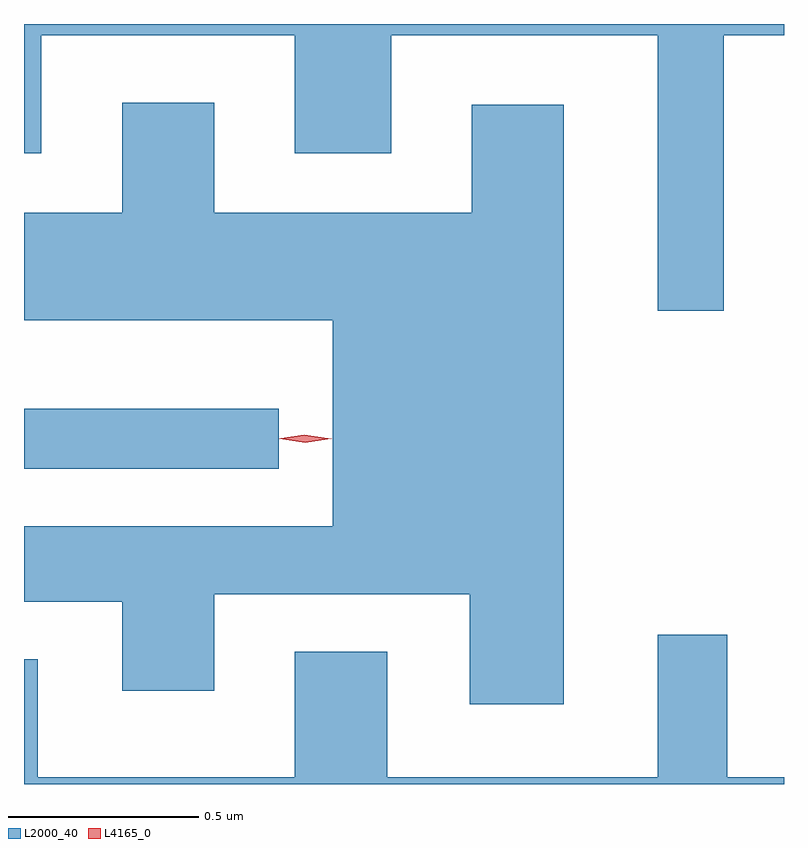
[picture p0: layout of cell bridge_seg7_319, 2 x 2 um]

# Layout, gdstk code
import gdstk
lib = gdstk.Library(unit=1e-6, precision=1e-09)
def R(c, l, rs):  # rectangles x0, y0, x1, y1
    for r in rs: c.add(gdstk.rectangle(r[:2], r[2:], *l))
def P(c, l, *ps):  # polygons
    for p in ps: c.add(gdstk.Polygon(p, *l))
L2000_40 = (2000, 40)
L4165_0 = (4165, 0)

bridge_seg7_319 = lib.new_cell('bridge_seg7_319')
R(bridge_seg7_319, L2000_40, [(1417.948,1757.576,1418.618,1757.734)])
P(bridge_seg7_319, L2000_40, [(1419.789,1758.716),(1419.948,1758.716),(1419.948,1758.746),(1417.948,1758.746),(1417.948,1758.406),(1417.994,1758.406),(1417.994,1758.716),(1418.661,1758.716),(1418.661,1758.406),(1418.914,1758.406),(1418.914,1758.716),(1419.616,1758.716),(1419.616,1757.991),(1419.789,1757.991)],
  [(1419.369,1758.534),(1419.126,1758.534),(1419.126,1758.249),(1418.449,1758.249),(1418.449,1758.539),(1418.206,1758.539),(1418.206,1758.249),(1417.948,1758.249),(1417.948,1757.966),(1418.761,1757.966),(1418.761,1757.424),(1417.948,1757.424),(1417.948,1757.226),(1418.206,1757.226),(1418.206,1756.991),(1418.449,1756.991),(1418.449,1757.246),(1419.121,1757.246),(1419.121,1756.956),(1419.369,1756.956)],
  [(1419.948,1756.764),(1419.799,1756.764),(1419.799,1757.139),(1419.616,1757.139),(1419.616,1756.764),(1418.904,1756.764),(1418.904,1757.094),(1418.661,1757.094),(1418.661,1756.764),(1417.984,1756.764),(1417.984,1757.074),(1417.948,1757.074),(1417.948,1756.746),(1419.948,1756.746)])
P(bridge_seg7_319, L4165_0, [(1418.686,1757.646),(1418.623,1757.655),(1418.623,1757.655),(1418.623,1757.656),(1418.685,1757.665),(1418.747,1757.656),(1418.748,1757.656),(1418.747,1757.655)],
  [(1418.688,1757.644),(1418.62,1757.654),(1418.619,1757.655),(1418.62,1757.655),(1418.689,1757.664),(1418.757,1757.655),(1418.758,1757.654),(1418.757,1757.654)])

lib.write_gds('bridge_seg7_319.gds')
